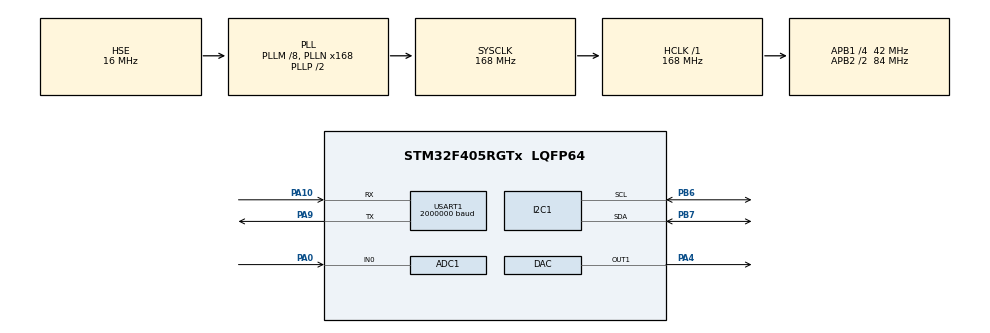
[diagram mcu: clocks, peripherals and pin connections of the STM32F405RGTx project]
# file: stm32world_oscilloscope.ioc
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ADC1.Channel-1\#ChannelRegularConversion=ADC_CHANNEL_0
ADC1.DMAContinuousRequests=ENABLE
ADC1.ExternalTrigConv=ADC_EXTERNALTRIGCONV_T8_TRGO
ADC1.NbrOfConversionFlag=1
ADC1.Rank-1\#ChannelRegularConversion=1
ADC1.SamplingTime-1\#ChannelRegularConversion=ADC_SAMPLETIME_84CYCLES
ADC1.ScanConvMode=ENABLE
ADC1.master=1
ARM.CMSIS.5.6.0.CMSISJjDSP=Library
DAC.DAC_Trigger=DAC_TRIGGER_T8_TRGO
Dma.ADC1.2.Direction=DMA_PERIPH_TO_MEMORY
Dma.ADC1.2.FIFOMode=DMA_FIFOMODE_DISABLE
Dma.ADC1.2.Instance=DMA2_Stream0
Dma.ADC1.2.MemDataAlignment=DMA_MDATAALIGN_HALFWORD
Dma.ADC1.2.MemInc=DMA_MINC_ENABLE
Dma.ADC1.2.Mode=DMA_CIRCULAR
Dma.ADC1.2.PeriphDataAlignment=DMA_PDATAALIGN_HALFWORD
Dma.ADC1.2.PeriphInc=DMA_PINC_DISABLE
Dma.ADC1.2.Priority=DMA_PRIORITY_LOW
Dma.DAC1.1.Direction=DMA_MEMORY_TO_PERIPH
Dma.DAC1.1.FIFOMode=DMA_FIFOMODE_DISABLE
Dma.DAC1.1.Instance=DMA1_Stream5
Dma.DAC1.1.MemDataAlignment=DMA_MDATAALIGN_HALFWORD
Dma.DAC1.1.MemInc=DMA_MINC_ENABLE
Dma.DAC1.1.Mode=DMA_CIRCULAR
Dma.DAC1.1.PeriphDataAlignment=DMA_PDATAALIGN_HALFWORD
Dma.DAC1.1.PeriphInc=DMA_PINC_DISABLE
Dma.DAC1.1.Priority=DMA_PRIORITY_LOW
Dma.I2C1_TX.0.Direction=DMA_MEMORY_TO_PERIPH
Dma.I2C1_TX.0.FIFOMode=DMA_FIFOMODE_DISABLE
Dma.I2C1_TX.0.Instance=DMA1_Stream6
Dma.I2C1_TX.0.MemDataAlignment=DMA_MDATAALIGN_BYTE
Dma.I2C1_TX.0.MemInc=DMA_MINC_ENABLE
Dma.I2C1_TX.0.Mode=DMA_NORMAL
Dma.I2C1_TX.0.PeriphDataAlignment=DMA_PDATAALIGN_BYTE
Dma.I2C1_TX.0.PeriphInc=DMA_PINC_DISABLE
Dma.I2C1_TX.0.Priority=DMA_PRIORITY_LOW
Dma.Request0=I2C1_TX
Dma.Request1=DAC1
Dma.Request2=ADC1
I2C1.I2C_Mode=I2C_Fast
Mcu.Family=STM32F4
Mcu.Name=STM32F405RGTx
Mcu.Package=LQFP64
NVIC.DMA1_Stream5_IRQn=true\:0\:0\:false\:false\:true\:false\:true\:true
NVIC.DMA1_Stream6_IRQn=true\:0\:0\:false\:false\:true\:false\:true\:true
NVIC.DMA2_Stream0_IRQn=true\:0\:0\:false\:false\:true\:false\:true\:true
NVIC.I2C1_EV_IRQn=true\:0\:0\:false\:false\:true\:true\:true\:true
NVIC.PriorityGroup=NVIC_PRIORITYGROUP_4
NVIC.TIM8_TRG_COM_TIM14_IRQn=true\:0\:0\:false\:false\:true\:true\:true\:true
PA0-WKUP.Signal=ADCx_IN0
PA10.Mode=Asynchronous
PA10.Signal=USART1_RX
PA13.Mode=Trace_Asynchronous_SW
PA13.Signal=SYS_JTMS-SWDIO
PA14.Mode=Trace_Asynchronous_SW
PA14.Signal=SYS_JTCK-SWCLK
PA4.Signal=COMP_DAC1_group
PA9.Mode=Asynchronous
PA9.Signal=USART1_TX
PB3.Mode=Trace_Asynchronous_SW
PB3.Signal=SYS_JTDO-SWO
PB6.GPIO_Pu=GPIO_PULLUP
PB6.Mode=I2C
PB6.Signal=I2C1_SCL
PB7.GPIO_Pu=GPIO_PULLUP
PB7.Mode=I2C
PB7.Signal=I2C1_SDA
PH0-OSC_IN.Mode=HSE-External-Oscillator
PH0-OSC_IN.Signal=RCC_OSC_IN
PH1-OSC_OUT.Mode=HSE-External-Oscillator
PH1-OSC_OUT.Signal=RCC_OSC_OUT
ProjectManager.HeapSize=0x200
ProjectManager.StackSize=0x400
ProjectManager.TargetToolchain=STM32CubeIDE
RCC.48MHZClocksFreq_Value=84000000
RCC.AHBFreq_Value=168000000
RCC.APB1CLKDivider=RCC_HCLK_DIV4
RCC.APB1Freq_Value=42000000
RCC.APB1TimFreq_Value=84000000
RCC.APB2CLKDivider=RCC_HCLK_DIV2
RCC.APB2Freq_Value=84000000
RCC.APB2TimFreq_Value=168000000
RCC.CortexFreq_Value=168000000
RCC.HCLKFreq_Value=168000000
RCC.HSE_VALUE=16000000
RCC.HSI_VALUE=16000000
RCC.LSE_VALUE=32768
RCC.PLLM=8
RCC.PLLN=168
RCC.PLLSourceVirtual=RCC_PLLSOURCE_HSE
RCC.SYSCLKFreq_VALUE=168000000
RCC.SYSCLKSource=RCC_SYSCLKSOURCE_PLLCLK
RCC.VCOOutputFreq_Value=336000000
SH.ADCx_IN0.0=ADC1_IN0,IN0
SH.COMP_DAC1_group.0=DAC_OUT1,DAC_OUT1
TIM8.Period=10 - 1
TIM8.Prescaler=168 - 1
TIM8.TIM_MasterOutputTrigger=TIM_TRGO_UPDATE
USART1.BaudRate=2000000
USART1.VirtualMode=VM_ASYNC
VP_ARM.CMSIS_VS_CMSISJjDSP_1.7.0_5.6.0.Mode=CMSISJjDSP
VP_TIM8_VS_ClockSourceINT.Mode=Internal
board=custom

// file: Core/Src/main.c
/* USER CODE BEGIN Header */
/**
 ******************************************************************************
 * @file           : main.c
 * @brief          : Main program body
 ******************************************************************************
 * @attention
 *
 * Copyright (c) 2025 Lars Boegild Thomsen <lth@stm32world.com>
 * All rights reserved.
 *
 * This software is licensed under terms that can be found in the LICENSE file
 * in the root directory of this software component.
 * If no LICENSE file comes with this software, it is provided AS-IS.
 *
 ******************************************************************************
 */
/* USER CODE END Header */
#include "main.h"

/* USER CODE BEGIN Includes */
#include <stdlib.h>
#include <stdio.h>

#include <math.h>
#include "arm_math.h"

#include "ssd1306.h"
/* USER CODE END Includes */

/* USER CODE BEGIN PD */
#define DMA_BUFFER_SIZE 32
#define SAMPLE_BUFFER_COUNT 10
#define SAMPLE_BUFFER_SIZE SAMPLE_BUFFER_COUNT * DMA_BUFFER_SIZE
#define SAMPLE_FREQ 100000
#define OUTPUT_MID 2048
/* USER CODE END PD */

ADC_HandleTypeDef hadc1;
DMA_HandleTypeDef hdma_adc1;

DAC_HandleTypeDef hdac;
DMA_HandleTypeDef hdma_dac1;

I2C_HandleTypeDef hi2c1;
DMA_HandleTypeDef hdma_i2c1_tx;

TIM_HandleTypeDef htim8;

UART_HandleTypeDef huart1;

/* USER CODE BEGIN PV */

const float demo_values[][2] = {
        { 1, 0.9 },
        { 2, 0.9 },
        { 2, 0.2 },
        { 4, 0.9 },
        { 0.5, 0.5 }
};

uint8_t demo_value = 0;

extern uint8_t SSD1306_Buffer[SSD1306_BUFFER_SIZE];

const float two_pi = 2 * M_PI;

uint32_t loop_cnt = 0;
uint32_t dac_cb = 0, adc_cb = 0;

uint16_t dma_out_buffer[2 * DMA_BUFFER_SIZE];
uint16_t dma_in_buffer[2 * DMA_BUFFER_SIZE];
uint16_t sample_buffer[SAMPLE_BUFFER_SIZE];

float angle = 0;
float angle_change = 2 * (2 * M_PI / SAMPLE_FREQ);
float amplifier = 0.9;

uint16_t y_value = 0;

/* USER CODE END PV */

void SystemClock_Config(void);
static void MX_GPIO_Init(void);
static void MX_DMA_Init(void);
static void MX_DAC_Init(void);
static void MX_USART1_UART_Init(void);
static void MX_ADC1_Init(void);
static void MX_I2C1_Init(void);
static void MX_TIM8_Init(void);

/* USER CODE BEGIN 0 */

// Send printf to uart1
int _write(int fd, char *ptr, int len) {
    HAL_StatusTypeDef hstatus;

    if (fd == 1 || fd == 2) {
        hstatus = HAL_UART_Transmit(&huart1, (uint8_t*) ptr, len, HAL_MAX_DELAY);
        if (hstatus == HAL_OK)
            return len;
        else
            return -1;
    }
    return -1;
}

static inline void do_dac(uint16_t *buffer) {
    for (int i = 0; i < DMA_BUFFER_SIZE; ++i) {
        buffer[i] = OUTPUT_MID - (amplifier * (OUTPUT_MID * arm_cos_f32(angle)));
        angle += angle_change;
        if (angle >= two_pi) {
            angle -= two_pi;
        }
    }

    ++dac_cb;
}

void do_adc(uint16_t *buffer) {

    memcpy(sample_buffer, sample_buffer[DMA_BUFFER_SIZE], 2 * DMA_BUFFER_SIZE * (SAMPLE_BUFFER_COUNT - 1));
    memcpy(sample_buffer[DMA_BUFFER_SIZE * (SAMPLE_BUFFER_COUNT - 1)], buffer, DMA_BUFFER_SIZE * 2);

    y_value = buffer[0];

    ++adc_cb;
}

inline void HAL_DAC_ConvCpltCallbackCh1(DAC_HandleTypeDef *hdac) {
    do_dac(&dma_out_buffer[DMA_BUFFER_SIZE]);
}

inline void HAL_DAC_ConvHalfCpltCallbackCh1(DAC_HandleTypeDef *hdac) {
    do_dac(&dma_out_buffer[0]);
}

void HAL_ADC_ConvHalfCpltCallback(ADC_HandleTypeDef *hadc) {
    do_adc(&dma_in_buffer[0]);
}

void HAL_ADC_ConvCpltCallback(ADC_HandleTypeDef *hadc) {
    do_adc(&dma_in_buffer[DMA_BUFFER_SIZE]);
}

// Shift whole screen left 1 pixel
void ssd1306_ShiftLeft() {
    uint8_t pages = SSD1306_HEIGHT / 8;

    for (uint8_t page = 0; page < pages; ++page) {
        for (uint8_t column = 0; column < SSD1306_WIDTH - 1; ++column) {
            SSD1306_Buffer[page * SSD1306_WIDTH + column] = SSD1306_Buffer[page * SSD1306_WIDTH + column + 1];
        }
        SSD1306_Buffer[page * SSD1306_WIDTH + SSD1306_WIDTH - 1] = 0;
    }

}

/* USER CODE END 0 */

int main(void)
{

    /* MCU Configuration--------------------------------------------------------*/

    /* Reset of all peripherals, Initializes the Flash interface and the Systick. */
    HAL_Init();

    /* Configure the system clock */
    SystemClock_Config();

    /* Initialize all configured peripherals */
    MX_GPIO_Init();
    MX_DMA_Init();
    MX_DAC_Init();
    MX_USART1_UART_Init();
    MX_ADC1_Init();
    MX_I2C1_Init();
    MX_TIM8_Init();
    /* USER CODE BEGIN 2 */

    printf("\n\n\n--------\nStarting\n");

    HAL_TIM_Base_Start_IT(&htim8);

    HAL_DAC_Start_DMA(&hdac, DAC_CHANNEL_1, (uint32_t*) &dma_out_buffer, 2 * DMA_BUFFER_SIZE, DAC_ALIGN_12B_R);
    HAL_ADC_Start_DMA(&hadc1, (uint32_t*) &dma_in_buffer, 2 * DMA_BUFFER_SIZE);

    printf("Scan i2c1\n");
    // Go through all possible i2c addresses
    for (uint8_t i = 0; i < 128; i++) {

        if (HAL_I2C_IsDeviceReady(&hi2c1, (uint16_t) (i << 1), 3, 5) == HAL_OK) {
            // We got an ack
            printf("%2x ", i);
        } else {
            printf("-- ");
        }

        if (i > 0 && (i + 1) % 16 == 0)
            printf("\n");

    }

    printf("\n");

    ssd1306_Init();
    ssd1306_FlipScreenVertically();
    ssd1306_Clear();
    ssd1306_SetColor(White);

    /* USER CODE END 2 */

    /* Infinite loop */
    /* USER CODE BEGIN WHILE */

    uint32_t cnt = 0, now = 0, next_demo = 0, next_tick = 1000, next_dot = 10;

    int8_t chg = 1;
    int8_t y = 0;

    while (1) {

        now = uwTick;

        if (now >= next_dot) {
            ssd1306_ShiftLeft();
            ssd1306_DrawPixel(127, y_value / 64);
            ssd1306_UpdateScreen();

            y += chg;
            if (y >= 64)
                chg = -1;
            if (y <= 0)
                chg = 1;

            next_dot = now + 10;
        }

        if (now >= next_tick) {
            printf("Tick %lu (cnt = %lu out = %lu in = %lu)\n", now / 1000, cnt, dac_cb, adc_cb);

            cnt = 0;
            next_tick = now + 1000;
        }

        if (now >= next_demo) {
            angle_change = demo_values[demo_value][0] * (2 * M_PI / SAMPLE_FREQ);
            amplifier = demo_values[demo_value][1];
            ++demo_value;
            if (demo_value >= sizeof(demo_values) / sizeof(demo_values[0]))
                demo_value = 0;
            next_demo = now + 5000;
        }

        ++cnt;

        /* USER CODE END WHILE */

    }
}

void SystemClock_Config(void)
{
    RCC_OscInitTypeDef RCC_OscInitStruct = { 0 };
    RCC_ClkInitTypeDef RCC_ClkInitStruct = { 0 };

    /** Configure the main internal regulator output voltage
     */
    __HAL_RCC_PWR_CLK_ENABLE();
    __HAL_PWR_VOLTAGESCALING_CONFIG(PWR_REGULATOR_VOLTAGE_SCALE1);

    /** Initializes the RCC Oscillators according to the specified parameters
     * in the RCC_OscInitTypeDef structure.
     */
    RCC_OscInitStruct.OscillatorType = RCC_OSCILLATORTYPE_HSE;
    RCC_OscInitStruct.HSEState = RCC_HSE_ON;
    RCC_OscInitStruct.PLL.PLLState = RCC_PLL_ON;
    RCC_OscInitStruct.PLL.PLLSource = RCC_PLLSOURCE_HSE;
    RCC_OscInitStruct.PLL.PLLM = 8;
    RCC_OscInitStruct.PLL.PLLN = 168;
    RCC_OscInitStruct.PLL.PLLP = RCC_PLLP_DIV2;
    RCC_OscInitStruct.PLL.PLLQ = 4;
    if (HAL_RCC_OscConfig(&RCC_OscInitStruct) != HAL_OK)
            {
        Error_Handler();
    }

    /** Initializes the CPU, AHB and APB buses clocks
     */
    RCC_ClkInitStruct.ClockType = RCC_CLOCKTYPE_HCLK | RCC_CLOCKTYPE_SYSCLK
            | RCC_CLOCKTYPE_PCLK1 | RCC_CLOCKTYPE_PCLK2;
    RCC_ClkInitStruct.SYSCLKSource = RCC_SYSCLKSOURCE_PLLCLK;
    RCC_ClkInitStruct.AHBCLKDivider = RCC_SYSCLK_DIV1;
    RCC_ClkInitStruct.APB1CLKDivider = RCC_HCLK_DIV4;
    RCC_ClkInitStruct.APB2CLKDivider = RCC_HCLK_DIV2;

    if (HAL_RCC_ClockConfig(&RCC_ClkInitStruct, FLASH_LATENCY_5) != HAL_OK)
            {
        Error_Handler();
    }
}

static void MX_ADC1_Init(void)
{

    ADC_ChannelConfTypeDef sConfig = { 0 };

    /** Configure the global features of the ADC (Clock, Resolution, Data Alignment and number of conversion)
     */
    hadc1.Instance = ADC1;
    hadc1.Init.ClockPrescaler = ADC_CLOCK_SYNC_PCLK_DIV4;
    hadc1.Init.Resolution = ADC_RESOLUTION_12B;
    hadc1.Init.ScanConvMode = ENABLE;
    hadc1.Init.ContinuousConvMode = DISABLE;
    hadc1.Init.DiscontinuousConvMode = DISABLE;
    hadc1.Init.ExternalTrigConvEdge = ADC_EXTERNALTRIGCONVEDGE_RISING;
    hadc1.Init.ExternalTrigConv = ADC_EXTERNALTRIGCONV_T8_TRGO;
    hadc1.Init.DataAlign = ADC_DATAALIGN_RIGHT;
    hadc1.Init.NbrOfConversion = 1;
    hadc1.Init.DMAContinuousRequests = ENABLE;
    hadc1.Init.EOCSelection = ADC_EOC_SINGLE_CONV;
    if (HAL_ADC_Init(&hadc1) != HAL_OK)
            {
        Error_Handler();
    }

    /** Configure for the selected ADC regular channel its corresponding rank in the sequencer and its sample time.
     */
    sConfig.Channel = ADC_CHANNEL_0;
    sConfig.Rank = 1;
    sConfig.SamplingTime = ADC_SAMPLETIME_84CYCLES;
    if (HAL_ADC_ConfigChannel(&hadc1, &sConfig) != HAL_OK)
            {
        Error_Handler();
    }

}

static void MX_DAC_Init(void)
{

    DAC_ChannelConfTypeDef sConfig = { 0 };

    /** DAC Initialization
     */
    hdac.Instance = DAC;
    if (HAL_DAC_Init(&hdac) != HAL_OK)
            {
        Error_Handler();
    }

    /** DAC channel OUT1 config
     */
    sConfig.DAC_Trigger = DAC_TRIGGER_T8_TRGO;
    sConfig.DAC_OutputBuffer = DAC_OUTPUTBUFFER_ENABLE;
    if (HAL_DAC_ConfigChannel(&hdac, &sConfig, DAC_CHANNEL_1) != HAL_OK)
            {
        Error_Handler();
    }

}

static void MX_I2C1_Init(void)
{

    hi2c1.Instance = I2C1;
    hi2c1.Init.ClockSpeed = 400000;
    hi2c1.Init.DutyCycle = I2C_DUTYCYCLE_2;
    hi2c1.Init.OwnAddress1 = 0;
    hi2c1.Init.AddressingMode = I2C_ADDRESSINGMODE_7BIT;
    hi2c1.Init.DualAddressMode = I2C_DUALADDRESS_DISABLE;
    hi2c1.Init.OwnAddress2 = 0;
    hi2c1.Init.GeneralCallMode = I2C_GENERALCALL_DISABLE;
    hi2c1.Init.NoStretchMode = I2C_NOSTRETCH_DISABLE;
    if (HAL_I2C_Init(&hi2c1) != HAL_OK)
            {
        Error_Handler();
    }

}

static void MX_TIM8_Init(void)
{

    TIM_ClockConfigTypeDef sClockSourceConfig = { 0 };
    TIM_MasterConfigTypeDef sMasterConfig = { 0 };

    htim8.Instance = TIM8;
    htim8.Init.Prescaler = 168 - 1;
    htim8.Init.CounterMode = TIM_COUNTERMODE_UP;
    htim8.Init.Period = 10 - 1;
    htim8.Init.ClockDivision = TIM_CLOCKDIVISION_DIV1;
    htim8.Init.RepetitionCounter = 0;
    htim8.Init.AutoReloadPreload = TIM_AUTORELOAD_PRELOAD_DISABLE;
    if (HAL_TIM_Base_Init(&htim8) != HAL_OK)
            {
        Error_Handler();
    }
    sClockSourceConfig.ClockSource = TIM_CLOCKSOURCE_INTERNAL;
    if (HAL_TIM_ConfigClockSource(&htim8, &sClockSourceConfig) != HAL_OK)
            {
        Error_Handler();
    }
    sMasterConfig.MasterOutputTrigger = TIM_TRGO_UPDATE;
    sMasterConfig.MasterSlaveMode = TIM_MASTERSLAVEMODE_DISABLE;
    if (HAL_TIMEx_MasterConfigSynchronization(&htim8, &sMasterConfig) != HAL_OK)
            {
        Error_Handler();
    }

}

static void MX_USART1_UART_Init(void)
{

    huart1.Instance = USART1;
    huart1.Init.BaudRate = 2000000;
    huart1.Init.WordLength = UART_WORDLENGTH_8B;
    huart1.Init.StopBits = UART_STOPBITS_1;
    huart1.Init.Parity = UART_PARITY_NONE;
    huart1.Init.Mode = UART_MODE_TX_RX;
    huart1.Init.HwFlowCtl = UART_HWCONTROL_NONE;
    huart1.Init.OverSampling = UART_OVERSAMPLING_16;
    if (HAL_UART_Init(&huart1) != HAL_OK)
            {
        Error_Handler();
    }

}

static void MX_DMA_Init(void)
{

    /* DMA controller clock enable */
    __HAL_RCC_DMA1_CLK_ENABLE();
    __HAL_RCC_DMA2_CLK_ENABLE();

    /* DMA interrupt init */
    /* DMA1_Stream5_IRQn interrupt configuration */
    HAL_NVIC_SetPriority(DMA1_Stream5_IRQn, 0, 0);
    HAL_NVIC_EnableIRQ(DMA1_Stream5_IRQn);
    /* DMA1_Stream6_IRQn interrupt configuration */
    HAL_NVIC_SetPriority(DMA1_Stream6_IRQn, 0, 0);
    HAL_NVIC_EnableIRQ(DMA1_Stream6_IRQn);
    /* DMA2_Stream0_IRQn interrupt configuration */
    HAL_NVIC_SetPriority(DMA2_Stream0_IRQn, 0, 0);
    HAL_NVIC_EnableIRQ(DMA2_Stream0_IRQn);

}

static void MX_GPIO_Init(void)
{

    /* GPIO Ports Clock Enable */
    __HAL_RCC_GPIOH_CLK_ENABLE();
    __HAL_RCC_GPIOA_CLK_ENABLE();
    __HAL_RCC_GPIOB_CLK_ENABLE();

}

void Error_Handler(void)
{
    __disable_irq();
    while (1)
    {
    }
}
